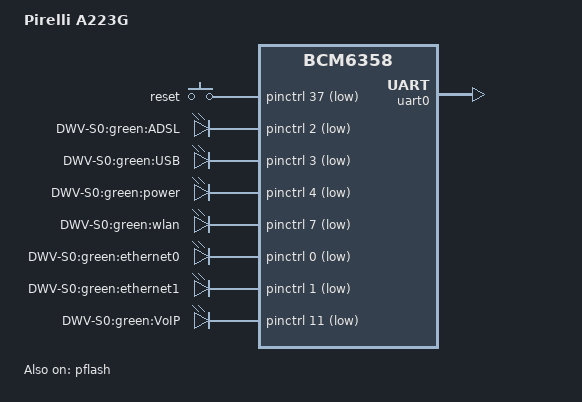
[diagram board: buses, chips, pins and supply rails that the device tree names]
/dts-v1/;

#include "bcm6358.dtsi"

#include <dt-bindings/input/input.h>

/ {
	model = "Pirelli A223G";
	compatible = "pirelli,a223g", "brcm,bcm6358";

	chosen {
		bootargs = "rootfstype=squashfs,jffs2 noinitrd console=ttyS0,115200";
		stdout-path = "serial0:115200n8";
	};

	keys {
		compatible = "gpio-keys-polled";
		#address-cells = <1>;
		#size-cells = <0>;
		poll-interval = <20>;

		reset {
			label = "reset";
			gpios = <&pinctrl 37 1>;
			linux,code = <KEY_RESTART>;
			debounce-interval = <60>;
		};
	};

	leds {
		compatible = "gpio-leds";

		dsl_green {
			label = "DWV-S0:green:ADSL";
			gpios = <&pinctrl 2 1>;
		};
		usb_green {
			label = "DWV-S0:green:USB";
			gpios = <&pinctrl 3 1>;
		};
		power_green {
			label = "DWV-S0:green:power";
			gpios = <&pinctrl 4 1>;
			default-state = "on";
		};
		inet_green {
			label = "DWV-S0:green:wlan";
			gpios = <&pinctrl 7 1>;
		};
		eth0_green {
			label = "DWV-S0:green:ethernet0";
			gpios = <&pinctrl 0 1>;
		};
		eth1_green {
            label = "DWV-S0:green:ethernet1";
            gpios = <&pinctrl 1 1>;
        };
		voip_green {
			label = "DWV-S0:green:VoIP";
			gpios = <&pinctrl 11 1>;
		};
	};
};

&pflash {
	status = "ok";

	partitions {
		compatible = "fixed-partitions";
		#address-cells = <1>;
		#size-cells = <1>;

		cfe@0 {
			label = "CFE";
			reg = <0x000000 0x010000>;
			read-only;
		};

		linux@10000 {
			label = "linux";
			reg = <0x010000 0x7e0000>;
			compatible = "brcm,bcm963xx-imagetag";
		};

		nvram@7f0000 {
			label = "nvram";
			reg = <0x7f0000 0x010000>;
		};
	};
};

&uart0 {
	status = "ok";
};
